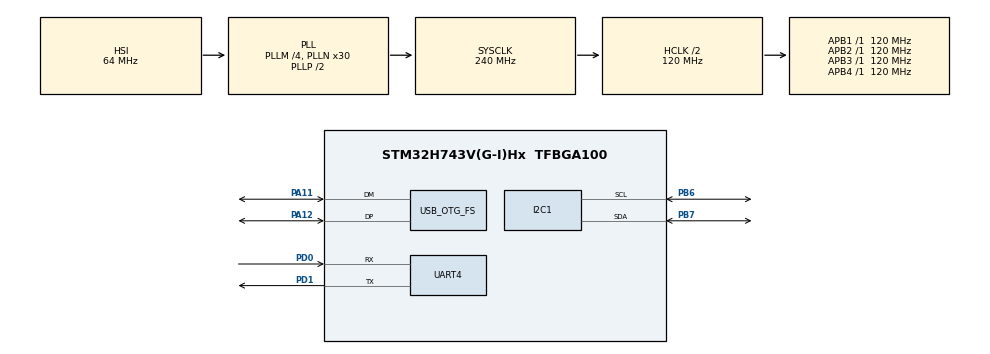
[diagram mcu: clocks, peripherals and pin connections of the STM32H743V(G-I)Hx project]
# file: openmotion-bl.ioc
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CORTEX_M7.default_mode_Activation=1
I2C1.Timing=0x107075B0
IWDG1.Prescaler=IWDG_PRESCALER_16
Mcu.Family=STM32H7
Mcu.Name=STM32H743V(G-I)Hx
Mcu.Package=TFBGA100
NVIC.I2C1_ER_IRQn=true\:0\:0\:false\:false\:true\:true\:true\:true
NVIC.I2C1_EV_IRQn=true\:0\:0\:false\:false\:true\:true\:true\:true
NVIC.OTG_FS_EP1_IN_IRQn=true\:0\:0\:false\:false\:true\:true\:true\:true
NVIC.OTG_FS_EP1_OUT_IRQn=true\:0\:0\:false\:false\:true\:true\:true\:true
NVIC.OTG_FS_IRQn=true\:0\:0\:false\:false\:true\:true\:true\:true
NVIC.PriorityGroup=NVIC_PRIORITYGROUP_4
NVIC.UART4_IRQn=true\:0\:0\:false\:false\:true\:false\:true\:true
PA11.Mode=Device_Only
PA11.Signal=USB_OTG_FS_DM
PA12.Mode=Device_Only
PA12.Signal=USB_OTG_FS_DP
PB6.Mode=I2C
PB6.Signal=I2C1_SCL
PB7.Mode=I2C
PB7.Signal=I2C1_SDA
PD0.Mode=Asynchronous
PD0.Signal=UART4_RX
PD1.Mode=Asynchronous
PD1.Signal=UART4_TX
ProjectManager.HeapSize=0x200
ProjectManager.StackSize=0x400
ProjectManager.TargetToolchain=CMake
RCC.ADCFreq_Value=120000000
RCC.APB1Freq_Value=120000000
RCC.APB2Freq_Value=120000000
RCC.APB3Freq_Value=120000000
RCC.APB4Freq_Value=120000000
RCC.CortexFreq_Value=240000000
RCC.DIVM1=4
RCC.DIVN1=30
RCC.DIVN2=120
RCC.DIVN3=120
RCC.DIVQ1=5
RCC.DIVQ2=4
RCC.DIVR1=4
RCC.DIVR3=4
RCC.HCLKFreq_Value=120000000
RCC.HPRE=RCC_HCLK_DIV2
RCC.I2C123CLockSelection=RCC_I2C123CLKSOURCE_PLL3
RCC.PLLFRACN=0
RCC.SYSCLKFreq_VALUE=240000000
RCC.SYSCLKSource=RCC_SYSCLKSOURCE_PLLCLK
RCC.USART234578CLockSelection=RCC_USART234578CLKSOURCE_PLL2
RCC.USBCLockSelection=RCC_USBCLKSOURCE_HSI48
RCC.USBFreq_Value=48000000
USB_DEVICE.CLASS_NAME_FS=DFU
USB_DEVICE.VirtualMode-DFU_FS=Dfu
USB_DEVICE.VirtualModeFS=Dfu_FS
USB_OTG_FS.VirtualMode=Device_Only
VP_CRC_VS_CRC.Mode=CRC_Activate
VP_IWDG1_VS_IWDG.Mode=IWDG_Activate
VP_MEMORYMAP_VS_MEMORYMAP.Mode=CurAppReg
VP_RNG_VS_RNG.Mode=RNG_Activate
VP_RTC_VS_RTC_Activate.Mode=RTC_Enabled
VP_USB_DEVICE_VS_USB_DEVICE_DFU_FS.Mode=DFU_FS
board=custom

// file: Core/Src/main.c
/* USER CODE BEGIN Header */
/**
  ******************************************************************************
  * @file           : main.c
  * @brief          : Main program body
  ******************************************************************************
  * @attention
  *
  * Copyright (c) 2026 STMicroelectronics.
  * All rights reserved.
  *
  * This software is licensed under terms that can be found in the LICENSE file
  * in the root directory of this software component.
  * If no LICENSE file comes with this software, it is provided AS-IS.
  *
  ******************************************************************************
  */
#include "version.h"   /* FW_VERSION (CMake-generated git describe) */
/* USER CODE END Header */
#include "main.h"
#include "usb_device.h"

/* USER CODE BEGIN Includes */
#include "sfu_boot.h"   /* SBSFU secure boot service */
#include "se_interface_bootloader.h" /* SE_Startup / SE_Init for the DFU header check */
#include "usbd_dfu_if.h" /* DFU_ImageDownloadComplete() */
#include "util.h"
#include <stdio.h>
#include <string.h>
#include <stdbool.h>
#include <stdlib.h>

/* USER CODE END Includes */

/* USER CODE BEGIN PD */

/* Application -> bootloader "enter USB DFU" request.
 * The running application writes BL_FORCE_DFU_MAGIC into RTC backup register 7
 * and issues a system reset. RTC backup registers live in the always-on backup
 * domain and survive a software reset, so the bootloader can detect the request
 * on the next boot, skip launching the application, and enter the USB DFU
 * download path so a new signed image can be installed without a debugger.
 * Application side (added later in the demo app):
 *     HAL_PWR_EnableBkUpAccess();
 *     __HAL_RCC_RTC_ENABLE();
 *     RTC->BKP7R = BL_FORCE_DFU_MAGIC;
 *     NVIC_SystemReset();
 */
#define BL_FORCE_DFU_MAGIC      0xB007C0DEU   /* "BOOT CODE" — request marker, RTC->BKP7R */

/*
 * Failsafe boot counter (RTC->BKP6R).
 * The bootloader increments this on every boot attempt BEFORE launching the
 * application, and arms the IWDG just before the jump. The application must
 * clear it to 0 once it has booted successfully (see openmotion-console-fw).
 * If the application hangs it never clears the counter and never refreshes the
 * IWDG, so the watchdog resets the device and the count keeps rising across
 * attempts. After BL_BOOT_FAIL_MAX failed attempts the bootloader stops trying
 * to launch and falls through to USB DFU so a known-good image can be flashed.
 * A clean power cycle (no VBAT) clears the backup domain and resets the count.
 */
#define BL_BOOT_FAIL_MAX        3U            /* force DFU after this many failed boots */

/* USER CODE END PD */

CRC_HandleTypeDef hcrc;

I2C_HandleTypeDef hi2c1;

IWDG_HandleTypeDef hiwdg1;

RNG_HandleTypeDef hrng;

RTC_HandleTypeDef hrtc;

UART_HandleTypeDef huart4;

void SystemClock_Config(void);
static void MPU_Config(void);
static void MX_GPIO_Init(void);
static void MX_CRC_Init(void);
static void MX_RNG_Init(void);
static void MX_RTC_Init(void);
static void MX_UART4_Init(void);
static void MX_I2C1_Init(void);
static void MX_IWDG1_Init(void);

int main(void)
{

  /* USER CODE BEGIN 1 */
  uint8_t force_dfu = 0U;   /* set when the application requested USB DFU (see RTC->BKP7R) */
  uint8_t boot_fail = 0U;   /* set when too many failed boot attempts forced DFU (see RTC->BKP6R) */
  /* USER CODE END 1 */

  /* MPU Configuration--------------------------------------------------------*/
  MPU_Config();

  /* MCU Configuration--------------------------------------------------------*/

  /* Reset of all peripherals, Initializes the Flash interface and the Systick. */
  HAL_Init();

  /* Configure the system clock */
  SystemClock_Config();

  /* USER CODE BEGIN SysInit */

  /*
   * Application-requested USB DFU.
   * RTC backup registers reside in the always-on backup domain and are NOT
   * cleared by a software reset, so an application can hand control back to the
   * bootloader's DFU path by writing BL_FORCE_DFU_MAGIC to RTC->BKP7R and
   * resetting. Enable backup-domain write access (PWR DBP) and the RTC register
   * clock before touching the backup register. RTCEN/RTCSEL programmed by a
   * prior boot persist across the software reset, so the register reads back the
   * value the application stored.
   */
  /* (On STM32H7 the PWR peripheral is always clocked — no RCC enable needed.) */
  HAL_PWR_EnableBkUpAccess();   /* DBP = 1: unlock the backup domain */
  /* Ensure the RTC kernel clock (LSI) is running. LSI in RCC_CSR is cleared by a
   * system reset even though the backup-domain BDCR (RTCSEL/RTCEN) is not, so
   * re-enable it before accessing the RTC. */
  __HAL_RCC_LSI_ENABLE();
  { uint32_t to = 0U; while ((__HAL_RCC_GET_FLAG(RCC_FLAG_LSIRDY) == 0U) && (++to < 0x00100000U)) { } }
  /* Select LSI as the RTC clock only if no source is selected yet. Writing
   * RTCSEL when it already holds a (non-zero) value would require a backup-domain
   * reset, which would erase the request, so we never do that here. */
  if ((RCC->BDCR & RCC_BDCR_RTCSEL) == 0U)
  {
    MODIFY_REG(RCC->BDCR, RCC_BDCR_RTCSEL, RCC_BDCR_RTCSEL_1);   /* RTCSEL = LSI */
  }
  __HAL_RCC_RTC_ENABLE();       /* enable RTC register / backup-register access */
  if (RTC->BKP7R == BL_FORCE_DFU_MAGIC)
  {
    RTC->BKP7R = 0U;            /* consume the request (one-shot) */
    force_dfu = 1U;
  }

  /*
   * Failsafe boot counter (RTC->BKP6R). Only evaluated when the application did
   * NOT explicitly request DFU above — a deliberate DFU request is not a boot
   * failure and must not advance the counter. The counter is incremented here,
   * before the IWDG is armed and before the application is launched; the
   * application clears it to 0 once it boots successfully. See BL_BOOT_FAIL_MAX.
   */
  if (force_dfu == 0U)
  {
    uint32_t boot_cnt = RTC->BKP6R;
    if (boot_cnt >= BL_BOOT_FAIL_MAX)
    {
      /* The last BL_BOOT_FAIL_MAX attempts all failed to clear the counter:
       * the installed firmware is not booting. Recover via USB DFU instead of
       * launching it again. Leave the counter as-is so the host/DFU tooling can
       * still observe that a boot-failure recovery occurred. */
      force_dfu = 1U;
      boot_fail = 1U;
    }
    else
    {
      RTC->BKP6R = boot_cnt + 1U;   /* record this boot attempt before the jump */
    }
  }

  /*
   * Arm the independent watchdog before launching the application.
   *
   * The IWDG runs from the LSI and, once started in software mode, keeps running
   * across the reset it triggers (only a power-on reset stops it). So on a retry
   * boot the bootloader is already running under a live IWDG: HAL_IWDG_Init()
   * below reloads the counter, giving the bootloader a fresh window for its
   * (un-refreshed) signature verification, and the application must take over
   * refreshing once launched. The DFU download loop also refreshes it (below).
   */
  MX_IWDG1_Init();

  /*
   * Run the SBSFU Secure Boot Service — skipped when the application explicitly
   * requested DFU mode (force_dfu), in which case we fall through to the USB DFU
   * download path below.
   *
   * This initializes the Secure Engine (SECoreBin), configures security,
   * and runs the SBSFU state machine:
   *  - If a valid signed firmware is found at SLOT_ACTIVE_1 (0x08020000),
   *    SBSFU verifies and launches it — this function never returns in that case.
   *  - If no valid firmware exists (SECBOOT_USE_NO_LOADER), the state
   *    machine exits gracefully and this function returns, allowing the USB DFU
   *    path below to accept a new signed image.
   *
   * SBSFU debug traces (sfu_com_trace.c) are printed via UART4 (blocking path).
   * SBSFU's DeInit disables the UART4 clock and deinits PD0/PD1 GPIO, so
   * MX_UART4_Init() must be called again below to restore the peripheral.
   */
  if (force_dfu == 0U)
  {
    SFU_BOOT_InitErrorTypeDef e_boot = SFU_BOOT_RunSecureBootService();
    (void)e_boot;  /* non-zero only on critical SE/security-IP init failure */
  }

  /*
   * Execution only reaches this point in the USB DFU download path: when a valid
   * signed firmware is present SFU_BOOT_RunSecureBootService() launches it and
   * never returns. SBSFU's DeInit() left UART4 and most GPIO de-initialised, so
   * re-initialise the peripherals the bootloader needs to enumerate as DFU.
   * GPIO must come first: the BSP_*_Enable() helpers below drive the IO-expander
   * and USB-hub reset lines via HAL_GPIO_WritePin() and require the pins to be
   * configured as outputs. DMA precedes UART4 because UART4's MspInit binds the
   * UART4 RX/TX DMA streams.
   */
  MX_GPIO_Init();
  MX_UART4_Init();

  /* USER CODE END SysInit */

  /* Initialize remaining configured peripherals */
  MX_CRC_Init();
  MX_RNG_Init();
  MX_RTC_Init();
  MX_I2C1_Init();

  /* USER CODE BEGIN 2 */
#if defined(DEBUG_ENABLED)
  /* UART4 status output exists in Debug builds only (see DEBUG_ENABLED in
   * CMakeLists.txt): a Release image carries neither the traces nor the strings. */
  if(force_dfu != 0U){
    PrintBootBanner(&huart4, FW_VERSION);

    if (boot_fail != 0U)
    {
      const char fail_note[] =
        "= [SBOOT] Reason: application failed to boot "
        "after repeated attempts (boot-counter recovery)\r\n\r\n";
      HAL_UART_Transmit(&huart4, (uint8_t *)fail_note, sizeof(fail_note) - 1, 250);
    }
  }
#else
  (void)boot_fail;
#endif /* DEBUG_ENABLED */

  /* USER CODE END 2 */

  /* Infinite loop */
  /* USER CODE BEGIN WHILE */

  /* The DFU path checks each download's signed header through the Secure
   * Engine before it erases the installed image (usbd_dfu_if.c). Bring the SE
   * up for that here: on the request/boot-counter path SBSFU never ran, and on
   * the no-valid-firmware path SBSFU wiped the SE RAM on its way out. Failure is
   * not fatal — the check then refuses every header and the device stays in DFU
   * with the installed image intact, which is the safe outcome. */
  {
    SE_StatusTypeDef se_status = SE_KO;
    if (SE_Startup() == SE_SUCCESS)
    {
      (void)SE_Init(&se_status, SystemCoreClock);
    }
  }

  // Init USB
  BSP_Set_IO_Expander_Enable();
  BSP_USB_Hub_Enable();
  MX_USB_DEVICE_Init();
  HAL_Delay(100);

  while (1)
  {
    /* USER CODE END WHILE */

    /* USER CODE BEGIN 3 */
    /* Refresh the IWDG: it may still be live from a prior firmware-hang reset,
     * and we armed it before reaching here. 500 ms loop << ~8 s timeout. */
    HAL_IWDG_Refresh(&hiwdg1);

    /* A new image was downloaded and the host has completed manifestation
     * (the DFU class is manifestation-tolerant, so it did NOT self-reset). */
    if (DFU_ImageDownloadComplete() != 0U)
    {
      if (DFU_IsRollback() != 0U)
      {
        /* Anti-rollback: the downloaded image is an older version than what was
         * installed. Destroy it so it can never boot (the boot path itself does
         * no version check), report, and stay in DFU so a valid (>=) image can
         * be flashed. Clear the completion latch so we handle this only once. */
        DFU_InvalidateImage();
        DFU_ClearDownloadState();

#if defined(DEBUG_ENABLED)
        const char rb[] =
          "\r\n= [SBOOT] Anti-rollback: rejected older firmware version. "
          "Image erased — flash a build with an equal or higher version.\r\n\r\n";
        HAL_UART_Transmit(&huart4, (uint8_t *)rb, sizeof(rb) - 1, 250);
#endif /* DEBUG_ENABLED */
      }
      else
      {
        /* Erase whatever a larger previous image left above the new one, or
         * SBSFU refuses the new image at boot (VerifySlot). */
        DFU_CleanSlotTail();

        /* Reboot so SBSFU verifies and launches the freshly flashed firmware.
         * The brief delay lets the final USB control transfer settle and the
         * host tool exit cleanly before the bus drops. */
        HAL_Delay(50);
        NVIC_SystemReset();
      }
    }

    /* Host-requested reset (DNLOAD to the virtual reset address): the clean
     * way for a host tool to leave DFU without flashing — e.g. the SDK
     * aborting an update after its pre-flight downgrade check. SBSFU fully
     * re-verifies the slot on the way back up, so if the slot is intact the
     * application boots; if not, we simply return to DFU. */
    if (DFU_ResetRequested() != 0U)
    {
      HAL_Delay(50);
      NVIC_SystemReset();
    }

    HAL_GPIO_TogglePin(IND1_GPIO_Port, IND1_Pin);
    HAL_Delay(500);

  }
  /* USER CODE END 3 */
}

void SystemClock_Config(void)
{
  RCC_OscInitTypeDef RCC_OscInitStruct = {0};
  RCC_ClkInitTypeDef RCC_ClkInitStruct = {0};

  /** Supply configuration update enable
  */
  HAL_PWREx_ConfigSupply(PWR_LDO_SUPPLY);

  /** Configure the main internal regulator output voltage
  */
  __HAL_PWR_VOLTAGESCALING_CONFIG(PWR_REGULATOR_VOLTAGE_SCALE2);

  while(!__HAL_PWR_GET_FLAG(PWR_FLAG_VOSRDY)) {}

  /** Initializes the RCC Oscillators according to the specified parameters
  * in the RCC_OscInitTypeDef structure.
  */
  RCC_OscInitStruct.OscillatorType = RCC_OSCILLATORTYPE_HSI48|RCC_OSCILLATORTYPE_HSI
                              |RCC_OSCILLATORTYPE_LSI;
  RCC_OscInitStruct.HSIState = RCC_HSI_DIV1;
  RCC_OscInitStruct.HSICalibrationValue = RCC_HSICALIBRATION_DEFAULT;
  RCC_OscInitStruct.LSIState = RCC_LSI_ON;
  RCC_OscInitStruct.HSI48State = RCC_HSI48_ON;
  RCC_OscInitStruct.PLL.PLLState = RCC_PLL_ON;
  RCC_OscInitStruct.PLL.PLLSource = RCC_PLLSOURCE_HSI;
  RCC_OscInitStruct.PLL.PLLM = 4;
  RCC_OscInitStruct.PLL.PLLN = 30;
  RCC_OscInitStruct.PLL.PLLP = 2;
  RCC_OscInitStruct.PLL.PLLQ = 5;
  RCC_OscInitStruct.PLL.PLLR = 4;
  RCC_OscInitStruct.PLL.PLLRGE = RCC_PLL1VCIRANGE_3;
  RCC_OscInitStruct.PLL.PLLVCOSEL = RCC_PLL1VCOWIDE;
  RCC_OscInitStruct.PLL.PLLFRACN = 0;
  if (HAL_RCC_OscConfig(&RCC_OscInitStruct) != HAL_OK)
  {
    Error_Handler();
  }

  /** Initializes the CPU, AHB and APB buses clocks
  */
  RCC_ClkInitStruct.ClockType = RCC_CLOCKTYPE_HCLK|RCC_CLOCKTYPE_SYSCLK
                              |RCC_CLOCKTYPE_PCLK1|RCC_CLOCKTYPE_PCLK2
                              |RCC_CLOCKTYPE_D3PCLK1|RCC_CLOCKTYPE_D1PCLK1;
  RCC_ClkInitStruct.SYSCLKSource = RCC_SYSCLKSOURCE_PLLCLK;
  RCC_ClkInitStruct.SYSCLKDivider = RCC_SYSCLK_DIV1;
  RCC_ClkInitStruct.AHBCLKDivider = RCC_HCLK_DIV2;
  RCC_ClkInitStruct.APB3CLKDivider = RCC_APB3_DIV1;
  RCC_ClkInitStruct.APB1CLKDivider = RCC_APB1_DIV1;
  RCC_ClkInitStruct.APB2CLKDivider = RCC_APB2_DIV1;
  RCC_ClkInitStruct.APB4CLKDivider = RCC_APB4_DIV1;

  if (HAL_RCC_ClockConfig(&RCC_ClkInitStruct, FLASH_LATENCY_2) != HAL_OK)
  {
    Error_Handler();
  }
}

static void MX_CRC_Init(void)
{

  hcrc.Instance = CRC;
  hcrc.Init.DefaultPolynomialUse = DEFAULT_POLYNOMIAL_ENABLE;
  hcrc.Init.DefaultInitValueUse = DEFAULT_INIT_VALUE_ENABLE;
  hcrc.Init.InputDataInversionMode = CRC_INPUTDATA_INVERSION_NONE;
  hcrc.Init.OutputDataInversionMode = CRC_OUTPUTDATA_INVERSION_DISABLE;
  hcrc.InputDataFormat = CRC_INPUTDATA_FORMAT_BYTES;
  if (HAL_CRC_Init(&hcrc) != HAL_OK)
  {
    Error_Handler();
  }

}

static void MX_I2C1_Init(void)
{

  hi2c1.Instance = I2C1;
  hi2c1.Init.Timing = 0x107075B0;
  hi2c1.Init.OwnAddress1 = 0;
  hi2c1.Init.AddressingMode = I2C_ADDRESSINGMODE_7BIT;
  hi2c1.Init.DualAddressMode = I2C_DUALADDRESS_DISABLE;
  hi2c1.Init.OwnAddress2 = 0;
  hi2c1.Init.OwnAddress2Masks = I2C_OA2_NOMASK;
  hi2c1.Init.GeneralCallMode = I2C_GENERALCALL_DISABLE;
  hi2c1.Init.NoStretchMode = I2C_NOSTRETCH_DISABLE;
  if (HAL_I2C_Init(&hi2c1) != HAL_OK)
  {
    Error_Handler();
  }

  /** Configure Analogue filter
  */
  if (HAL_I2CEx_ConfigAnalogFilter(&hi2c1, I2C_ANALOGFILTER_ENABLE) != HAL_OK)
  {
    Error_Handler();
  }

  /** Configure Digital filter
  */
  if (HAL_I2CEx_ConfigDigitalFilter(&hi2c1, 0) != HAL_OK)
  {
    Error_Handler();
  }

}

static void MX_IWDG1_Init(void)
{

  /* Timeout = (Reload + 1) * Prescaler / LSI ~= 4096 * 64 / 32000 ~= 8.2 s.
   * This window must exceed BOTH the bootloader's signature-verification time
   * (it is not refreshed during SFU_BOOT_RunSecureBootService) AND the
   * application's time from launch to its first IWDG refresh. Widened from the
   * original ~2 s (Prescaler_16) so neither path trips the watchdog spuriously. */
  hiwdg1.Instance = IWDG1;
  hiwdg1.Init.Prescaler = IWDG_PRESCALER_64;
  hiwdg1.Init.Window = 4095;
  hiwdg1.Init.Reload = 4095;
  if (HAL_IWDG_Init(&hiwdg1) != HAL_OK)
  {
    Error_Handler();
  }

}

static void MX_RNG_Init(void)
{

  hrng.Instance = RNG;
  hrng.Init.ClockErrorDetection = RNG_CED_ENABLE;
  if (HAL_RNG_Init(&hrng) != HAL_OK)
  {
    Error_Handler();
  }

}

static void MX_RTC_Init(void)
{

  /** Initialize RTC Only
  */
  hrtc.Instance = RTC;
  hrtc.Init.HourFormat = RTC_HOURFORMAT_24;
  hrtc.Init.AsynchPrediv = 127;
  hrtc.Init.SynchPrediv = 255;
  hrtc.Init.OutPut = RTC_OUTPUT_DISABLE;
  hrtc.Init.OutPutPolarity = RTC_OUTPUT_POLARITY_HIGH;
  hrtc.Init.OutPutType = RTC_OUTPUT_TYPE_OPENDRAIN;
  hrtc.Init.OutPutRemap = RTC_OUTPUT_REMAP_NONE;
  if (HAL_RTC_Init(&hrtc) != HAL_OK)
  {
    Error_Handler();
  }

}

static void MX_UART4_Init(void)
{

  huart4.Instance = UART4;
  huart4.Init.BaudRate = 115200;
  huart4.Init.WordLength = UART_WORDLENGTH_8B;
  huart4.Init.StopBits = UART_STOPBITS_1;
  huart4.Init.Parity = UART_PARITY_NONE;
  huart4.Init.Mode = UART_MODE_TX_RX;
  huart4.Init.HwFlowCtl = UART_HWCONTROL_NONE;
  huart4.Init.OverSampling = UART_OVERSAMPLING_16;
  huart4.Init.OneBitSampling = UART_ONE_BIT_SAMPLE_DISABLE;
  huart4.Init.ClockPrescaler = UART_PRESCALER_DIV1;
  huart4.AdvancedInit.AdvFeatureInit = UART_ADVFEATURE_NO_INIT;
  if (HAL_UART_Init(&huart4) != HAL_OK)
  {
    Error_Handler();
  }
  if (HAL_UARTEx_SetTxFifoThreshold(&huart4, UART_TXFIFO_THRESHOLD_1_8) != HAL_OK)
  {
    Error_Handler();
  }
  if (HAL_UARTEx_SetRxFifoThreshold(&huart4, UART_RXFIFO_THRESHOLD_1_8) != HAL_OK)
  {
    Error_Handler();
  }
  if (HAL_UARTEx_DisableFifoMode(&huart4) != HAL_OK)
  {
    Error_Handler();
  }

}

static void MX_GPIO_Init(void)
{

  /* GPIO Ports Clock Enable */
  __HAL_RCC_GPIOB_CLK_ENABLE();
  __HAL_RCC_GPIOA_CLK_ENABLE();
  __HAL_RCC_GPIOD_CLK_ENABLE();

}

 /* MPU Configuration */

void MPU_Config(void)
{
  MPU_Region_InitTypeDef MPU_InitStruct = {0};

  /* Disables the MPU */
  HAL_MPU_Disable();

  /** Initializes and configures the Region and the memory to be protected
  */
  MPU_InitStruct.Enable = MPU_REGION_ENABLE;
  MPU_InitStruct.Number = MPU_REGION_NUMBER0;
  MPU_InitStruct.BaseAddress = 0x0;
  MPU_InitStruct.Size = MPU_REGION_SIZE_4GB;
  MPU_InitStruct.SubRegionDisable = 0x87;
  MPU_InitStruct.TypeExtField = MPU_TEX_LEVEL0;
  MPU_InitStruct.AccessPermission = MPU_REGION_NO_ACCESS;
  MPU_InitStruct.DisableExec = MPU_INSTRUCTION_ACCESS_DISABLE;
  MPU_InitStruct.IsShareable = MPU_ACCESS_SHAREABLE;
  MPU_InitStruct.IsCacheable = MPU_ACCESS_NOT_CACHEABLE;
  MPU_InitStruct.IsBufferable = MPU_ACCESS_NOT_BUFFERABLE;

  HAL_MPU_ConfigRegion(&MPU_InitStruct);
  /* Enables the MPU */
  HAL_MPU_Enable(MPU_PRIVILEGED_DEFAULT);

}

#ifdef SFU_MPU_PROTECT_ENABLE

/**
  * @brief  CPU L1-Cache enable.
  * @param  None
  * @retval None
  */
static void CPU_CACHE_Enable(void)
{
  /* Enable I-Cache */
  SCB_EnableICache();

  /* Enable D-Cache */
  SCB_EnableDCache();
}
#endif /* SFU_MPU_PROTECT_ENABLE */

void Error_Handler(void)
{
  __disable_irq();
  while (1)
  {
  }
}
